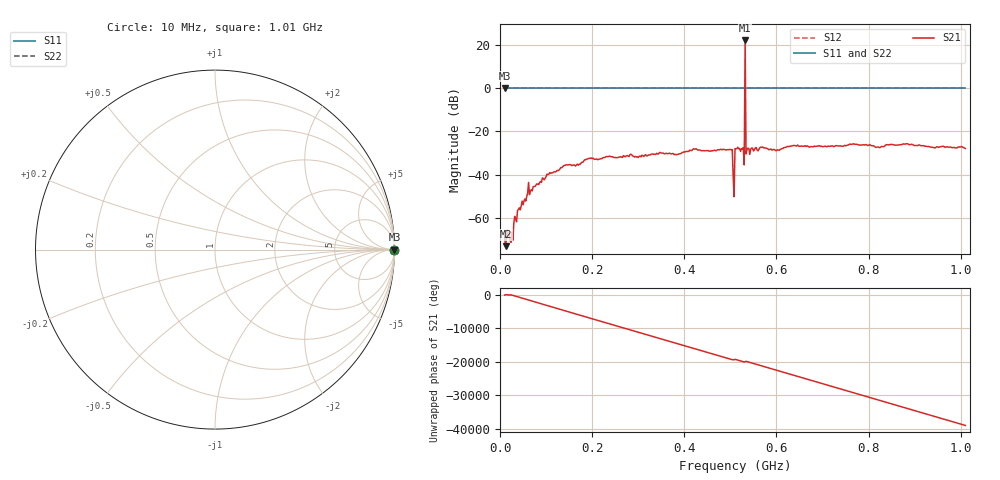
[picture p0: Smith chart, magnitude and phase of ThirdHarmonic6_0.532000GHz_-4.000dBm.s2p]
! 8/15/2025 4:33:37 PM
! C:\ANRITSUVNA\TEMP\TEMP.S2P
! CHANNEL.1
! TR.MEASUREMENT
! RAW.DATA
! RF.CORRECTION.OFF
! AVERAGING.OFF
! IF.BANDWIDTH: 5KHZ
! SWEEPTYPE:  FREQ.SWEEP(Linear)
! Reference Plane Port Info
! PORT:  PORT1  PORT2
! DISTANCE:  0  m  0  m
! TIME:  0  s  0  s
! PHASE.OFFSET:  0  deg.  0  deg.
! LOSS:  0  dB  0  dB
! REF.LOSS:  0  dB  0  dB
! REF.FREQ:  0  Hz  0  Hz
! Power Info
! POWER:  -20  dBm  -20  dBm
! EFF.POWER:  -20  dBm  -20  dBm
! SOURCE.ATTEN:  0  dB  0  dB
! TEST.ATTEN:  0  dB  0  dB
# GHZ S RI R 50.0
! FREQ.GHZ  S11RE  S11IM  S21RE  S21IM  S12RE  S12IM  S22RE  S22IM
!; PortSelection: Port_12
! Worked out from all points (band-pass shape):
!   501 points, 10 MHz to 1.01 GHz, reference 50 ohm
!   highest |S21| = 21.90 dB at 532 MHz (marker M1); lowest = -73.1 dB at 12 MHz (marker M2)
!   |S21| within 3 dB of the highest: 531.8956 MHz to 532.1144 MHz (218.9 kHz wide, 0.0411 % of centre)
!   lowest |S11| = 0.0 dB at 10 MHz (marker M3)
!   |S11| at or under -10 dB: nowhere
!   |S22| runs from 0.0 to 0.0 dB; largest |S21 - S12| = 13
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0.01  1 0  -0.000142 -0.00033  1 0  1 0
0.012  1 0  0.000133 0.000177  1 0  1 0
0.024  1 0  0.000225 -0.000151  1 0  1 0
0.036  1 0  -0.000783 -0.000201  1 0  1 0
0.064  1 0  -0.00261 0.00221  1 0  1 0
0.106  1 0  -0.00758 -0.00672  1 0  1 0
0.142  1 0  -0.0153 -0.00569  1 0  1 0
0.178  1 0  -0.0189 -0.0031  1 0  1 0
0.194  1 0  -0.00576 -0.0231  1 0  1 0
0.344  1 0  0.028 -0.00982  1 0  1 0
0.5  1 0  -0.0375 -0.00538  1 0  1 0
0.504  1 0  0.0323 0.0193  1 0  1 0
0.51  1 0  -0.0321 0.0231  1 0  1 0
0.514  1 0  0.0382 -0.00949  1 0  1 0
0.526  1 0  -0.0284 -0.0265  1 0  1 0
0.528  1 0  -0.0333 0.0255  1 0  1 0
0.532  1 0  -10.39 6.847  1 0  1 0
0.536  1 0  -0.0377 -0.00135  1 0  1 0
0.538  1 0  -0.00794 0.0398  1 0  1 0
0.678  1 0  -0.0277 -0.0337  1 0  1 0
0.844  1 0  0.0433 0.022  1 0  1 0
1.01  1 0  -0.0398 0.0032  1 0  1 0
